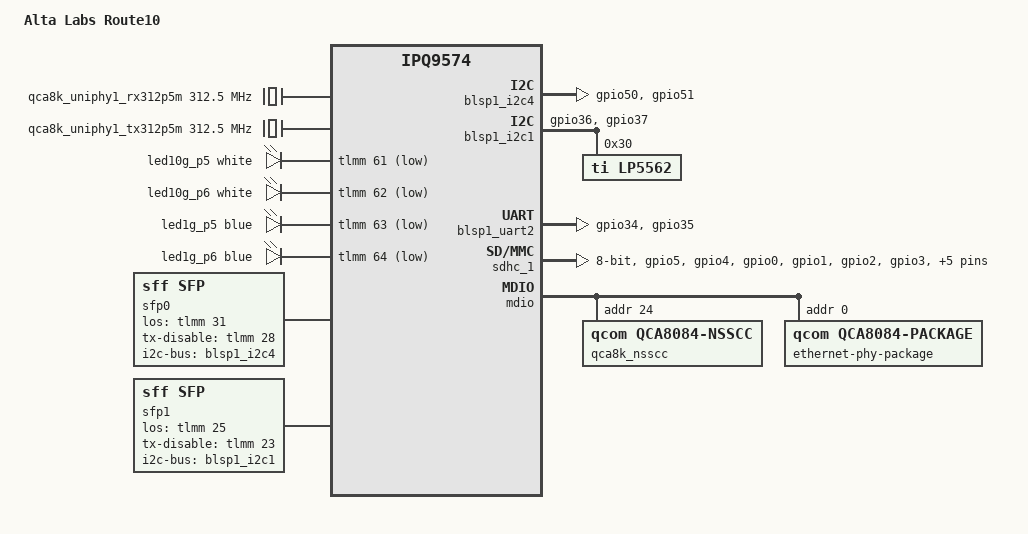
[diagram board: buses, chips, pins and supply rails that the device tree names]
// SPDX-License-Identifier: (GPL-2.0+ OR BSD-3-Clause)

/dts-v1/;

#include "ipq9574.dtsi"

#include <dt-bindings/clock/qcom,ipq-cmn-pll.h>
#include <dt-bindings/gpio/gpio.h>
#include <dt-bindings/leds/common.h>
#include <dt-bindings/clock/qcom,qca8k-nsscc.h>
#include <dt-bindings/net/qcom,qca808x.h>
#include <dt-bindings/reset/qcom,qca8k-nsscc.h>

/ {
	model = "Alta Labs Route10";
	compatible = "alta,route10", "qcom,ipq9574";

	aliases {
		serial0 = &blsp1_uart2;
	};

	chosen {
		stdout-path = "serial0:115200n8";
	};

	qca8k_uniphy1_rx312p5m: qca8k-uniphy1-rx312p5m {
		compatible = "fixed-clock";
		clock-frequency = <312500000>;
		#clock-cells = <0>;
	};

	qca8k_uniphy1_tx312p5m: qca8k-uniphy1-tx312p5m {
		compatible = "fixed-clock";
		clock-frequency = <312500000>;
		#clock-cells = <0>;
	};

	leds {
		compatible = "gpio-leds";
		pinctrl-0 = <&sfp_leds>;
		pinctrl-names = "default";

		led-0 {
			color = <LED_COLOR_ID_WHITE>;
			label = "led10g_p5";
			gpios = <&tlmm 61 GPIO_ACTIVE_LOW>;
		};
	
		led-2 {
			color = <LED_COLOR_ID_WHITE>;
			label = "led10g_p6";
			gpios = <&tlmm 62 GPIO_ACTIVE_LOW>;
		};

		led-3 {
			color = <LED_COLOR_ID_BLUE>;
			label = "led1g_p5";
			gpios = <&tlmm 63 GPIO_ACTIVE_LOW>;
		};
	
		led-4 {
			color = <LED_COLOR_ID_BLUE>;
			label = "led1g_p6";
			gpios = <&tlmm 64 GPIO_ACTIVE_LOW>;
		};
	};

	sfp0: sfp-0 {
		compatible = "sff,sfp";
		pinctrl-0 = <&sfp_0_pins>;
		pinctrl-names = "default";
		i2c-bus = <&blsp1_i2c4>;
		los-gpios = <&tlmm 31 GPIO_ACTIVE_HIGH>;
		tx-disable-gpios = <&tlmm 28 GPIO_ACTIVE_HIGH>;
	};

	sfp1: sfp-1 {
		compatible = "sff,sfp";
		pinctrl-0 = <&sfp_1_pins>;
		pinctrl-names = "default";
		i2c-bus = <&blsp1_i2c1>;
		los-gpios = <&tlmm 25 GPIO_ACTIVE_HIGH>;
		tx-disable-gpios = <&tlmm 23 GPIO_ACTIVE_HIGH>;
	};
};

&blsp1_i2c4{
	pinctrl-0 = <&blsp4_i2c_pins>;
	pinctrl-names = "default";
	status = "okay";
};

&blsp1_i2c1 {
	pinctrl-0 = <&blsp1_i2c1_pins>;
	pinctrl-names = "default";
	status = "okay";
	
	lp5562@30 {
		#address-cells = <1>;
		#size-cells = <0>;
		compatible = "ti,lp5562";
		reg = <0x30>;
		clock-mode = /bits/8 <2>;

		led@0 {
			reg = <0>;
			chan-name = "red";
			led-cur = /bits/ 8 <0x20>;
			max-cur = /bits/ 8 <0x60>;
			color = <LED_COLOR_ID_RED>;
		};
	
		led@1 {
			reg = <1>;
			chan-name = "green";
			led-cur = /bits/ 8 <0x20>;
			max-cur = /bits/ 8 <0x60>;
			color = <LED_COLOR_ID_GREEN>;
		};

		led@2 {
			reg = <2>;
			chan-name = "blue";
			led-cur = /bits/ 8 <0x20>;
			max-cur = /bits/ 8 <0x60>;
			color = <LED_COLOR_ID_GREEN>;
		};

		led@3 {
			reg = <3>;
			chan-name = "white";
			led-cur = /bits/ 8 <0x20>;
			max-cur = /bits/ 8 <0x60>;
			color = <LED_COLOR_ID_WHITE>;
		};
	};
};

&blsp1_uart2 {
	pinctrl-0 = <&blsp1_uart2_pins>;
	pinctrl-names = "default";
	status = "okay";
};

&sdhc_1 {
	bus-width = <8>;
	max-frequency = <384000000>;
	mmc-ddr-1_8v;
	mmc-hs200-1_8v;
	mmc-hs400-1_8v;
	mmc-hs400-enhanced-strobe;
	pinctrl-0 = <&emmc_pins>;
	pinctrl-names = "default";
	status = "okay";
};

&qcom_ppe {
	ethernet-ports {
		#address-cells = <1>;
		#size-cells = <0>;

		port@1 {
			reg = <1>;
			phy-mode = "qsgmii";
			label = "wan0";
			phy-handle = <&phy0>;
			pcs-handle = <&pcsuniphy0_ch0>;
			clocks = <&nsscc NSS_CC_PORT1_MAC_CLK>,
				 <&nsscc NSS_CC_PORT1_RX_CLK>,
				 <&nsscc NSS_CC_PORT1_TX_CLK>;
			clock-names = "port_mac",
				"port_rx",
				"port_tx";
			resets = <&nsscc PORT1_MAC_ARES>,
				 <&nsscc PORT1_RX_ARES>,
				 <&nsscc PORT1_TX_ARES>;
			reset-names = "port_mac",
				"port_rx",
				"port_tx";
		};
		port@2 {
			reg = <2>;
			phy-mode = "qsgmii";
			label = "lan1";
			phy-handle = <&phy1>;
			pcs-handle = <&pcsuniphy0_ch1>;
			clocks = <&nsscc NSS_CC_PORT2_MAC_CLK>,
				 <&nsscc NSS_CC_PORT2_RX_CLK>,
				 <&nsscc NSS_CC_PORT2_TX_CLK>;
			clock-names = "port_mac",
				"port_rx",
				"port_tx";
			resets = <&nsscc PORT2_MAC_ARES>,
				 <&nsscc PORT2_RX_ARES>,
				 <&nsscc PORT2_TX_ARES>;
			reset-names = "port_mac",
				"port_rx",
				"port_tx";
		};
		port@3 {
			reg = <3>;
			phy-mode = "qsgmii";
			label = "lan2";
			phy-handle = <&phy2>;
			pcs-handle = <&pcsuniphy0_ch2>;
			clocks = <&nsscc NSS_CC_PORT3_MAC_CLK>,
				 <&nsscc NSS_CC_PORT3_RX_CLK>,
				 <&nsscc NSS_CC_PORT3_TX_CLK>;
			clock-names = "port_mac",
				"port_rx",
				"port_tx";
			resets = <&nsscc PORT3_MAC_ARES>,
				 <&nsscc PORT3_RX_ARES>,
				 <&nsscc PORT3_TX_ARES>;
			reset-names = "port_mac",
				"port_rx",
				"port_tx";
		};
		port@4 {
			reg = <4>;
			phy-mode = "qsgmii";
			label = "lan3";
			phy-handle = <&phy3>;
			pcs-handle = <&pcsuniphy0_ch3>;
			clocks = <&nsscc NSS_CC_PORT4_MAC_CLK>,
				 <&nsscc NSS_CC_PORT4_RX_CLK>,
				 <&nsscc NSS_CC_PORT4_TX_CLK>;
			clock-names = "port_mac",
				"port_rx",
				"port_tx";
			resets = <&nsscc PORT4_MAC_ARES>,
				 <&nsscc PORT4_RX_ARES>,
				 <&nsscc PORT4_TX_ARES>;
			reset-names = "port_mac",
				"port_rx",
				"port_tx";
		};

		port@5 {
			reg = <5>;
			phy-mode = "10gbase-r";
			managed = "in-band-status";
			label = "wan1";
			sfp = <&sfp0>;
			pcs-handle = <&pcsuniphy1_ch0>;
			local-mac-address = [00 00 00 00 00 00];
			clocks = <&nsscc NSS_CC_PORT5_MAC_CLK>,
				 <&nsscc NSS_CC_PORT5_RX_CLK>,
				 <&nsscc NSS_CC_PORT5_TX_CLK>;
			clock-names = "port_mac",
				"port_rx",
				"port_tx";
			resets = <&nsscc PORT5_MAC_ARES>,
				 <&nsscc PORT5_RX_ARES>,
				<&nsscc PORT5_TX_ARES>;
			reset-names = "port_mac",
				"port_rx",
				"port_tx";
		};

		port@6 {
			reg = <6>;
			phy-mode = "10gbase-r";
			managed = "in-band-status";
			label = "lan4";
			sfp = <&sfp1>;
			pcs-handle = <&pcsuniphy2_ch0>;
			local-mac-address = [00 00 00 00 00 00];
			clocks = <&nsscc NSS_CC_PORT6_MAC_CLK>,
				 <&nsscc NSS_CC_PORT6_RX_CLK>,
				 <&nsscc NSS_CC_PORT6_TX_CLK>;
			clock-names = "port_mac",
				"port_rx",
				"port_tx";
			resets = <&nsscc PORT6_MAC_ARES>,
				 <&nsscc PORT6_RX_ARES>,
				 <&nsscc PORT6_TX_ARES>;
			reset-names = "port_mac",
				"port_rx",
				"port_tx";
		};
	};
};

&mdio {
	status = "okay";
	pinctrl-0 = <&mdio_pins>;
	pinctrl-names = "default";
	phy-reset-gpio = <&tlmm 60 0>;
	
	qca8k_nsscc: clock-controller@18 {
		compatible = "qcom,qca8084-nsscc";
			reg = <0x18>;
			clocks = <&cmn_pll ETH0_50MHZ_CLK>,
				<0>,
				<0>,
				<0>,
				<0>,
				<&qca8k_uniphy1_rx312p5m>,
				<&qca8k_uniphy1_tx312p5m>;
			#clock-cells = <1>;
			#reset-cells = <1>;
			#power-domain-cells = <1>;
	};

	ethernet-phy-package@0 {
		#address-cells = <1>;
		#size-cells = <0>;
		compatible = "qcom,qca8084-package";
		reg = <0>;
		clocks = <&qca8k_nsscc NSS_CC_APB_BRIDGE_CLK>,
			 <&qca8k_nsscc NSS_CC_AHB_CLK>,
			 <&qca8k_nsscc NSS_CC_SEC_CTRL_AHB_CLK>,
			 <&qca8k_nsscc NSS_CC_TLMM_CLK>,
			 <&qca8k_nsscc NSS_CC_TLMM_AHB_CLK>,
			 <&qca8k_nsscc NSS_CC_CNOC_AHB_CLK>,
			 <&qca8k_nsscc NSS_CC_MDIO_AHB_CLK>;
		clock-names = "apb_bridge",
			"ahb",
			"sec_ctrl_ahb",
			"tlmm",
			"tlmm_ahb",
			"cnoc_ahb",
			"mdio_ahb";
		resets = <&qca8k_nsscc NSS_CC_GEPHY_FULL_ARES>;
		com,phy-addr-fixup = <1 2 3 4 5 6 7>;

		qcom,package-mode = <QCA808X_PCS1_10G_QXGMII_PCS0_UNUNSED>;

		phy0: ethernet-phy@1 {
			compatible = "ethernet-phy-id004d.d101", "ethernet-phy-ieee802.3-c22";
			reg = <1>;
			clocks = <&qca8k_nsscc NSS_CC_GEPHY0_SYS_CLK>;
			resets = <&qca8k_nsscc NSS_CC_GEPHY0_SYS_ARES>;
		};

		phy1: ethernet-phy@2 {
			compatible = "ethernet-phy-id004d.d101", "ethernet-phy-ieee802.3-c22";
			reg = <2>;
			clocks = <&qca8k_nsscc NSS_CC_GEPHY1_SYS_CLK>;
			resets = <&qca8k_nsscc NSS_CC_GEPHY1_SYS_ARES>;
		};

		phy2: ethernet-phy@3 {
			compatible = "ethernet-phy-id004d.d101", "ethernet-phy-ieee802.3-c22";
			reg = <3>;
			clocks = <&qca8k_nsscc NSS_CC_GEPHY2_SYS_CLK>;
			resets = <&qca8k_nsscc NSS_CC_GEPHY2_SYS_ARES>;
		};

		phy3: ethernet-phy@4 {
			compatible = "ethernet-phy-id004d.d101", "ethernet-phy-ieee802.3-c22";
			reg = <4>;
			clocks = <&qca8k_nsscc NSS_CC_GEPHY3_SYS_CLK>;
			resets = <&qca8k_nsscc NSS_CC_GEPHY3_SYS_ARES>;
		};
	};
};

&rpm_requests {
	regulators {
		compatible = "qcom,rpm-mp5496-regulators";

		ipq9574_s1: s1 {
			regulator-min-microvolt = <725000>;
			regulator-max-microvolt = <1075000>;
		};

		mp5496_l2: l2 {
			regulator-min-microvolt = <850000>;
			regulator-max-microvolt = <850000>;
			regulator-always-on;
			regulator-boot-on;
		};
	};
};

&sleep_clk {
	clock-frequency = <32000>;
};

&tlmm {
	blsp1_i2c1_pins: blsp1-i2c1-pins {
		pins = "gpio36", "gpio37";
		function = "blsp1_i2c";
		drive-strength = <8>;
		bias-disable;
	};

	blsp4_i2c_pins: blsp4-i2c-pins {
		pins = "gpio50", "gpio51";
		function = "blsp4_i2c";
		drive-strength = <8>;
		bias-disable;
	};

	blsp1_uart2_pins: blsp1_uart2_pinmux {
		pins = "gpio34", "gpio35";
		function = "blsp2_uart";
		drive-strength = <8>;
		bias-disable;
	};
	
	emmc_pins: emmc_pins {
		clk-pins {
			pins = "gpio5";
			function = "sdc_clk";
			drive-strength = <8>;
			bias-disable;
		};
		cmd-pins {
			pins = "gpio4";
			function = "sdc_cmd";
			drive-strength = <8>;
			bias-pull-up;
		};
		data-pins {
			pins = "gpio0", "gpio1", "gpio2",
				"gpio3", "gpio6", "gpio7",
				"gpio8", "gpio9";
			function = "sdc_data";
			drive-strength = <8>;
			bias-pull-up;
		};
		rclk-pins {
			pins = "gpio10";
			function = "sdc_rclk";
			drive-strength = <8>;
			bias-pull-down;
		};
	};
	
	sfp_leds: sfp_leds_pinmux {
		led_en {
			pins = "gpio43";
			function = "gpio";
			drive-strength = <2>;
			bias-pull-down;
			output-low;
		};

		sfp_10g_p5 {
			pins = "gpio61";
			function = "gpio";
			drive-strength = <8>;
			bias-pull-up;
		};

		sfp_10g_p6 {
			pins = "gpio62";
			function = "gpio";
			drive-strength = <8>;
			bias-pull-up;
		};

		sfp_1g_p5 {
			pins = "gpio63";
			function = "gpio";
			drive-strength = <8>;
			bias-pull-up;
		};
		
		sfp_1g_p6 {
			pins = "gpio64";
			function = "gpio";
			drive-strength = <8>;
			bias-pull-up;
		};
	};

	sfp_0_pins: sfp_0_pinmux {
		tx_disable_p5 {
			pins = "gpio28";
			function = "gpio";
			drive-strength = <8>;
			bias-pull-down;
		};

		los_gpio_p5 {
			pins = "gpio31";
			function = "gpio";
			drive-strength = <8>;
			bias-disable;
		};
	};
	
	sfp_1_pins: sfp_1_pinmux {
		tx_disable_p6 {
			pins = "gpio23";
			function = "gpio";
			drive-strength = <8>;
			bias-pull-down;
		};

		los_gpio_p6 {
			pins = "gpio25";
			function = "gpio";
			drive-strength = <8>;
			bias-disable;
		};
	};
};

/*
 * The bootstrap pins for the board select the XO clock frequency,
 * which automatically enables the right dividers to ensure the
 * reference clock output from WiFi is 48 MHZ.
 */
&ref_48mhz_clk {
	clock-div = <1>;
	clock-mult = <1>;
};

/*
 * The frequency of xo_board_clk is fixed to 24 MHZ, which is routed
 * from WiFi output clock 48 MHZ divided by 2.
 */
&xo_board_clk {
	clock-div = <2>;
	clock-mult = <1>;
};

&xo_clk {
	clock-frequency = <48000000>;
};
